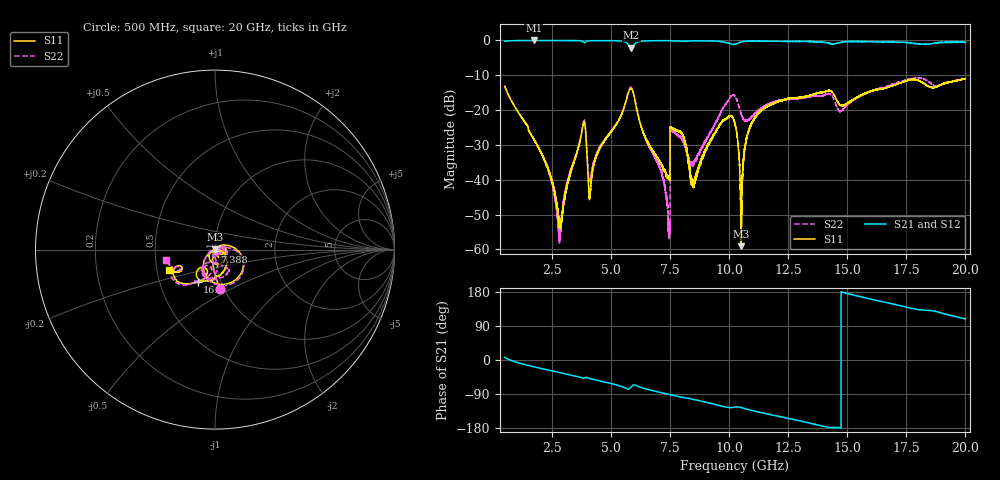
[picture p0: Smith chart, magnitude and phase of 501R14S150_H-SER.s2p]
!{501R14S150}
!Johanson Technology Inc.
!www.johansontechnology.com
!Test Board Conditions:
!Substrate Type  RO4350B
!Substrate Thickness  20 mil
!Substrate Dk  3.66
!TL Type: GCPW
!TL Trace Width  36 mil
!TL Gap  12 mil
!Electrode orientation  Horizontal
!DUT TOPOLOGY	SERIES
!Mounting Pad LxW  26x36 mil
! Created Wed Mar 11 16:04:02 2020
# mhz S ma R 50
! 2 Port Network Data from SP1.SP block
! freq  magS11  angS11  magS21  angS21  magS12  angS12  magS22  angS22
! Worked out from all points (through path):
!   19501 points, 500 MHz to 20 GHz, reference 50 ohm
!   highest |S21| = -0.03 dB at 1.734 GHz (marker M1); lowest = -2.1 dB at 5.865 GHz (marker M2)
!   group delay of S21, straight-line fit = 35.3 ps
!   lowest |S11| = -59.1 dB at 10.51 GHz (marker M3), VSWR 1.00, Z = 49.9 + j0.0915 ohm
!   |S11| at or under -10 dB: start of sweep to end of sweep
!   |S22| runs from -58.5 to -10.8 dB; largest |S21 - S12| = 0.02
!   S11 on the Smith chart (normalised r, x): 500 MHz: 0.96, -0.44; 7.388 GHz: 0.99, -0.02; 16.5 GHz: 0.78, -0.29; 20 GHz: 0.58, -0.14
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500  0.2205 -82.5  0.9721 6.9  0.9719 6.9  0.2208 -82.6
1734  0.03838 -106.8  0.9968 -17.8  0.9956 -17.8  0.03834 -105.3
2829  0.002222 -51.8  0.9951 -33.2  0.9951 -33.1  0.001366 144.7
3750  0.04543 26.1  0.981 -46.8  0.981 -46.8  0.04652 27.9
3890  0.06657 -34.0  0.9279 -46.8  0.928 -46.7  0.06961 -34.1
4126  0.007027 17.7  0.9887 -49.1  0.9881 -49.1  0.01042 -11.1
5865  0.2032 -68.3  0.7859 -70.6  0.7868 -70.5  0.21 -69.7
7000  0.01974 -139.6  0.9888 -84.4  0.9887 -84.4  0.01705 -172.7
7388  0.01035 -104.6  0.9887 -89.9  0.9889 -89.9  0.004216 -160.5
7598  0.05497 -19.8  0.9863 -92.8  0.9867 -92.7  0.0509 0.8
8061  0.04189 -46.8  0.9711 -99.0  0.9696 -98.9  0.03469 -40.3
8476  0.008707 -8.0  0.9848 -103.8  0.9833 -103.7  0.01577 -90.3
9660  0.0648 -19.0  0.959 -121.4  0.9585 -121.3  0.09367 -81.1
10250  0.06323 -117.6  0.8797 -124.0  0.8808 -124.0  0.1578 -115.6
10513  0.001111 124.4  0.9463 -125.5  0.9468 -125.5  0.08834 -122.0
10749  0.04067 -11.4  0.9689 -129.7  0.9688 -129.7  0.06906 -92.3
11160  0.08364 -38.3  0.976 -136.1  0.9747 -136.0  0.09369 -66.6
13500  0.1639 -93.9  0.96 -167.9  0.9633 -167.8  0.1571 -71.2
14720  0.1166 -122.2  0.9363 -179.7  0.9362 -179.7  0.0959 -108.5
16500  0.2028 -118.6  0.9474 153.8  0.9459 153.8  0.2098 -122.6
16750  0.2121 -121.1  0.9536 150.4  0.9475 150.4  0.2241 -123.4
20000  0.2816 -156.6  0.9349 108.4  0.9357 108.8  0.2788 -167.7
